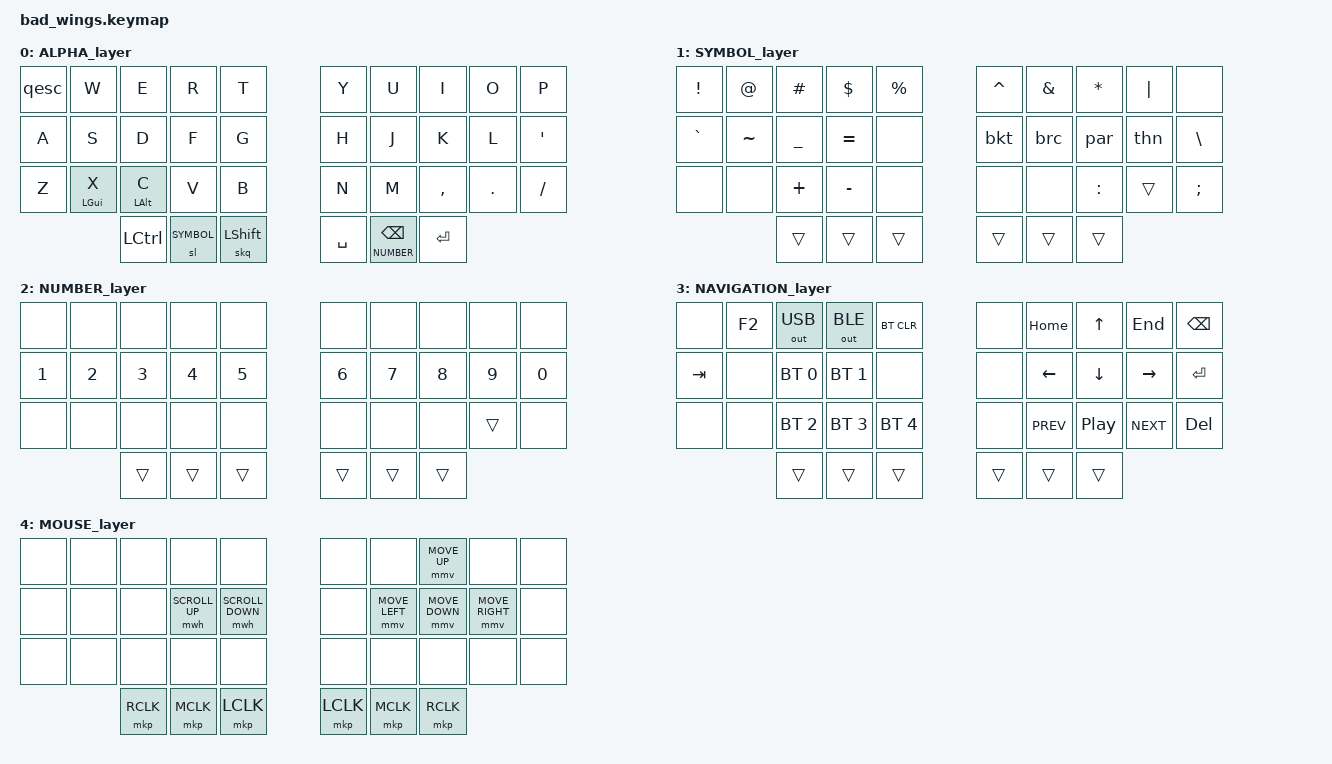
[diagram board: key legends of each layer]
/*
 * Copyright (c) 2022 The ZMK Contributors
 *
 * SPDX-License-Identifier: MIT
 */

#include <behaviors.dtsi>
#include <dt-bindings/zmk/keys.h>
#include <dt-bindings/zmk/bt.h>
#include <dt-bindings/zmk/outputs.h>
#include <dt-bindings/zmk/mouse.h>

#define ALPHA       0
#define SYMBOL      1
#define NUMBER      2
#define NAVIGATION  3
#define MOUSE       4

&mt {
    flavor = "tap-preferred";
    tapping_term_ms = <180>;
};

&lt {
    tapping_term_ms = <150>;
};

&mmv {
    acceleration-exponent=<1>;
};

/ {
    combos {
        compatible = "zmk,combos";
        combo_bootloader {
            timeout-ms = <50>;
            key-positions = <0 9>;
            bindings = <&bootloader>;
        };

        combo_mouselayer {
            timeout-ms = <100>;
            key-positions = <31 33>;
            bindings = <&tog MOUSE>;
        };
    };

    behaviors {
        qesc: tap_dance_qesc {
            compatible = "zmk,behavior-tap-dance";
            label = "tap_dance_qesc";
            #binding-cells = <0>;
            tapping-term-ms = <300>;
            bindings = <&kp Q>, <&kp ESC>;
        };

        bkt: tap_dance_bracket {
            compatible = "zmk,behavior-tap-dance";
            label = "tap_dance_bracket";
            #binding-cells = <0>;
            tapping-term-ms = <200>;
            bindings = <&kp LBKT>, <&kp RBKT>;
        };

        brc: tap_dance_brace {
            compatible = "zmk,behavior-tap-dance";
            label = "tap_dance_braces";
            #binding-cells = <0>;
            tapping-term-ms = <200>;
            bindings = <&kp LBRC>, <&kp RBRC>;
        };

        par: tap_dance_paren {
            compatible = "zmk,behavior-tap-dance";
            label = "tap_dance_paren";
            #binding-cells = <0>;
            tapping-term-ms = <200>;
            bindings = <&kp LPAR>, <&kp RPAR>;
        };

        thn: tap_dance_then {
            compatible = "zmk,behavior-tap-dance";
            label = "tap_dance_then";
            #binding-cells = <0>;
            tapping-term-ms = <200>;
            bindings = <&kp LT>, <&kp GT>;
        };

        skq: sticky_quick {
            compatible = "zmk,behavior-sticky-key";
            label = "sticky_quick";
            #binding-cells = <1>;
            bindings = <&kp>;
            release-after-ms = <200>;
            quick-release;
        };

        hrm: homerow_mods {
           compatible = "zmk,behavior-hold-tap";
           label = "homerow_mods";
           #binding-cells = <2>;
           tapping-term-ms = <250>;
           quick-tap-ms = <0>;
           flavor = "tap-preferred";
           bindings = <&kp>, <&kp>;

        };

    };

    conditional_layers {
        compatible = "zmk,conditional-layers";
        tri_layer {
            if-layers = <SYMBOL NUMBER>;
            then-layer = <NAVIGATION>;
        };
    };

    keymap {
        compatible = "zmk,keymap";

        ALPHA_layer {
            bindings = <
                &qesc   &kp W           &kp E       &kp R       &kp T        &kp Y     &kp U            &kp I     &kp O    &kp P
                &kp A   &kp S           &kp D       &kp F       &kp G        &kp H     &kp J            &kp K     &kp L    &kp SQT
                &kp Z   &hrm LGUI X     &hrm LALT C       &kp V       &kp B        &kp N     &kp M      &kp COMMA &kp DOT  &kp SLASH
                                        &kp LCTRL   &sl SYMBOL  &skq LSHIFT  &kp SPACE &lt NUMBER BSPC  &kp RET
            >;
        };

        SYMBOL_layer {
            bindings = <
                &kp EXCL    &kp AT      &kp HASH    &kp DLLR    &kp PRCNT   &kp CARET   &kp AMPS    &kp STAR    &kp PIPE    &none
                &kp GRAVE   &kp TILDE   &kp UNDER   &kp EQUAL   &none       &bkt        &brc        &par        &thn        &kp BSLH
                &none       &none       &kp PLUS    &kp MINUS   &none       &none       &none       &kp COLON   &trans     &kp SEMI
                                        &trans      &trans      &trans      &trans      &trans      &trans
            >;
        };

        NUMBER_layer {
            bindings = <
                &none       &none       &none       &none       &none       &none       &none       &none       &none       &none
                &kp N1      &kp N2      &kp N3      &kp N4      &kp N5      &kp N6      &kp N7      &kp N8      &kp N9      &kp N0
                &none       &none       &none       &none       &none       &none       &none       &none       &trans      &none
                                        &trans      &trans      &trans      &trans      &trans      &trans
            >;
        };

        NAVIGATION_layer {
            bindings = <
                &none           &kp F2          &out OUT_USB    &out OUT_BLE    &bt BT_CLR      &none       &kp HOME    &kp UP      &kp END     &kp BSPC 
                &kp TAB         &none           &bt BT_SEL 0    &bt BT_SEL 1    &none           &none       &kp LEFT    &kp DOWN    &kp RIGHT   &kp RET
                &none           &none           &bt BT_SEL 2    &bt BT_SEL 3    &bt BT_SEL 4    &none       &kp C_PREV  &kp C_PP    &kp C_NEXT  &kp DEL    
                                                &trans          &trans          &trans          &trans      &trans      &trans
            >;
        };
        MOUSE_layer {
            bindings = <
                &none       &none       &none       &none           &none                   &none       &none           &mmv MOVE_UP    &none        &none
                &none       &none       &none       &mwh SCROLL_UP  &mwh SCROLL_DOWN        &none       &mmv MOVE_LEFT  &mmv MOVE_DOWN  &mmv MOVE_RIGHT &none
                &none       &none       &none       &none           &none                   &none       &none           &none       &none           &none                                 
                                        &mkp RCLK   &mkp MCLK       &mkp LCLK               &mkp LCLK   &mkp MCLK       &mkp RCLK
            >;
        };        
    };
};
